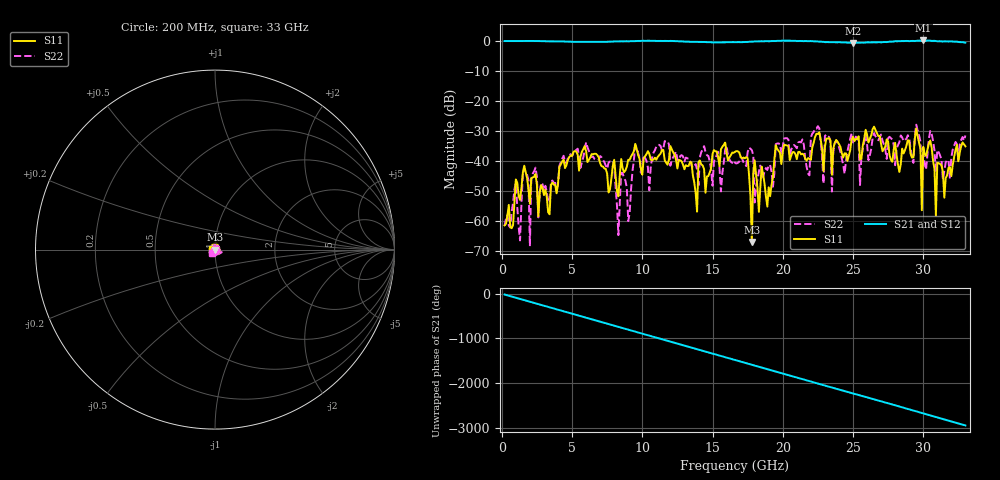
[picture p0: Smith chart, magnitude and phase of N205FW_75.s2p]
# GHZ S RI R 50
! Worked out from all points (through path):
!   329 points, 200 MHz to 33 GHz, reference 50 ohm
!   highest |S21| = 0.20 dB at 30 GHz (marker M1); lowest = -0.6 dB at 25 GHz (marker M2)
!   group delay of S21, straight-line fit = 248 ps
!   lowest |S11| = -67.0 dB at 17.8 GHz (marker M3), VSWR 1.00, Z = 50 + j0.0448 ohm
!   |S11| at or under -10 dB: start of sweep to end of sweep
!   |S22| runs from -68.4 to -27.9 dB; largest |S21 - S12| = 0.0022
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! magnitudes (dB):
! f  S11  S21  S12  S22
! 200 MHz  -61.4  0.0  0.0  -61.6
! 5.7 GHz  -36.9  -0.3  -0.3  -40.4
! 7.9 GHz  -41.7  -0.2  -0.2  -40.0
! 8.3 GHz  -51.8  -0.1  -0.1  -64.7
! 8.5 GHz  -39.4  -0.1  -0.1  -43.9
! 9 GHz  -39.6  -0.1  -0.1  -60.0
! 9.5 GHz  -34.3  0.0  0.0  -34.9
! 11.2 GHz  -38.1  0.0  0.0  -34.6
! 13.9 GHz  -56.9  -0.3  -0.3  -42.8
! 16.6 GHz  -36.9  -0.4  -0.4  -40.6
! 17.5 GHz  -39.0  -0.3  -0.3  -37.0
! 17.8 GHz  -67.0  -0.2  -0.2  -36.4
! 18 GHz  -39.8  -0.1  -0.1  -53.8
! 22.1 GHz  -35.5  -0.1  0.0  -30.9
! 23.5 GHz  -44.6  -0.4  -0.4  -50.2
! 25 GHz  -31.9  -0.6  -0.6  -33.8
! 27.6 GHz  -38.1  -0.2  -0.2  -31.9
! 29.5 GHz  -29.1  0.1  0.1  -27.9
! 29.9 GHz  -56.4  0.1  0.1  -45.3
! 30 GHz  -35.3  0.2  0.2  -37.7
! 30.9 GHz  -58.2  0.0  0.0  -43.6
! 33 GHz  -35.1  -0.5  -0.5  -31.5
